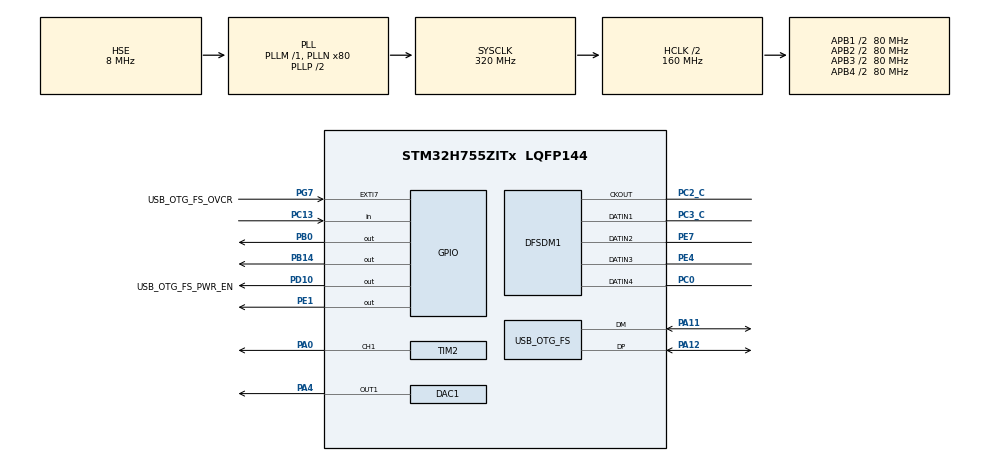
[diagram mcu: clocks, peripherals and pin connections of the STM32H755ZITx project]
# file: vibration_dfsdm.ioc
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CortexM4.IPs=FATFS_M4\:I,FREERTOS_M4\:I,IWDG2\:I,RCC,WWDG2\:I,DMA,BDMA,MDMA,NVIC2\:I,USART3,DEBUG,PDM2PCM_M4\:I,PWR,RESMGR_UTILITY,SYS_M4\:I,USB_DEVICE_M4\:I,USB_HOST_M4\:I,CORTEX_M4\:I,GPIO,OPENAMP_M4\:I,VREFBUF,NUCLEO-H755ZI-Q
CortexM7.IPs=FATFS_M7\:I,FREERTOS_M7\:I,IWDG1\:I,RCC\:I,WWDG1\:I,DMA\:I,BDMA\:I,MDMA\:I,NVIC1\:I,USART3\:I,USB_OTG_FS\:I,SYS\:I,CORTEX_M7\:I,DEBUG\:I,PDM2PCM_M7\:I,PWR\:I,RESMGR_UTILITY\:I,USB_DEVICE_M7\:I,USB_HOST_M7\:I,GPIO\:I,OPENAMP_M7\:I,VREFBUF\:I,NUCLEO-H755ZI-Q\:I,MEMORYMAP\:I,DFSDM1\:I,TIM1\:I,DAC1\:I,TIM2\:I
DAC1.DAC_Channel-DAC_OUT1=DAC_CHANNEL_1
DAC1.DAC_Trigger-DAC_OUT1=DAC_TRIGGER_T1_TRGO
DAC1.DAC_UserTrimming-DAC_OUT1=DAC_TRIMMING_FACTORY
DFSDM1.Divider=25
DFSDM1.DmaMode_reg_FIL0=ENABLE
DFSDM1.DmaMode_reg_FIL1=ENABLE
DFSDM1.DmaMode_reg_FIL2=ENABLE
DFSDM1.DmaMode_reg_FIL3=ENABLE
DFSDM1.FastMode_reg_FIL0=ENABLE
DFSDM1.FastMode_reg_FIL1=ENABLE
DFSDM1.FastMode_reg_FIL2=ENABLE
DFSDM1.FastMode_reg_FIL3=ENABLE
DFSDM1.FilterOrder_CH1=DFSDM_CHANNEL_FASTSINC_ORDER
DFSDM1.Filter_regChannel_FIL0=DFSDM_CHANNEL_1
DFSDM1.Filter_regChannel_FIL1=DFSDM_CHANNEL_2
DFSDM1.Filter_regChannel_FIL2=DFSDM_CHANNEL_3
DFSDM1.Filter_regChannel_FIL3=DFSDM_CHANNEL_4
DFSDM1.Fosr_FIL0=64
DFSDM1.Fosr_FIL1=64
DFSDM1.Fosr_FIL2=64
DFSDM1.Fosr_FIL3=64
DFSDM1.Iosr_FIL0=1
DFSDM1.Iosr_FIL1=1
DFSDM1.Iosr_FIL2=1
DFSDM1.Iosr_FIL3=1
DFSDM1.SincOrder_FIL0=DFSDM_FILTER_SINC3_ORDER
DFSDM1.SincOrder_FIL1=DFSDM_FILTER_SINC3_ORDER
DFSDM1.SincOrder_FIL2=DFSDM_FILTER_SINC3_ORDER
DFSDM1.SincOrder_FIL3=DFSDM_FILTER_SINC3_ORDER
DFSDM1.Type_spi_CH1=DFSDM_CHANNEL_SPI_FALLING
DFSDM1.Type_spi_CH2=DFSDM_CHANNEL_SPI_FALLING
DFSDM1.Type_spi_CH3=DFSDM_CHANNEL_SPI_FALLING
DFSDM1.Type_spi_CH4=DFSDM_CHANNEL_SPI_FALLING
Dma.DAC1_CH1.4.Direction=DMA_MEMORY_TO_PERIPH
Dma.DAC1_CH1.4.EventEnable=DISABLE
Dma.DAC1_CH1.4.FIFOMode=DMA_FIFOMODE_DISABLE
Dma.DAC1_CH1.4.Instance=DMA2_Stream0
Dma.DAC1_CH1.4.MemDataAlignment=DMA_MDATAALIGN_HALFWORD
Dma.DAC1_CH1.4.MemInc=DMA_MINC_ENABLE
Dma.DAC1_CH1.4.Mode=DMA_CIRCULAR
Dma.DAC1_CH1.4.PeriphDataAlignment=DMA_PDATAALIGN_HALFWORD
Dma.DAC1_CH1.4.PeriphInc=DMA_PINC_DISABLE
Dma.DAC1_CH1.4.Polarity=HAL_DMAMUX_REQ_GEN_RISING
Dma.DAC1_CH1.4.Priority=DMA_PRIORITY_VERY_HIGH
Dma.DAC1_CH1.4.RequestNumber=1
Dma.DAC1_CH1.4.SignalID=NONE
Dma.DAC1_CH1.4.SyncEnable=DISABLE
Dma.DAC1_CH1.4.SyncPolarity=HAL_DMAMUX_SYNC_NO_EVENT
Dma.DAC1_CH1.4.SyncRequestNumber=1
Dma.DAC1_CH1.4.SyncSignalID=NONE
Dma.DFSDM1_FLT0.0.Direction=DMA_PERIPH_TO_MEMORY
Dma.DFSDM1_FLT0.0.EventEnable=DISABLE
Dma.DFSDM1_FLT0.0.FIFOMode=DMA_FIFOMODE_ENABLE
Dma.DFSDM1_FLT0.0.FIFOThreshold=DMA_FIFO_THRESHOLD_FULL
Dma.DFSDM1_FLT0.0.Instance=DMA1_Stream0
Dma.DFSDM1_FLT0.0.MemBurst=DMA_MBURST_INC4
Dma.DFSDM1_FLT0.0.MemDataAlignment=DMA_MDATAALIGN_WORD
Dma.DFSDM1_FLT0.0.MemInc=DMA_MINC_ENABLE
Dma.DFSDM1_FLT0.0.Mode=DMA_CIRCULAR
Dma.DFSDM1_FLT0.0.PeriphBurst=DMA_PBURST_SINGLE
Dma.DFSDM1_FLT0.0.PeriphDataAlignment=DMA_PDATAALIGN_WORD
Dma.DFSDM1_FLT0.0.PeriphInc=DMA_PINC_DISABLE
Dma.DFSDM1_FLT0.0.Polarity=HAL_DMAMUX_REQ_GEN_RISING
Dma.DFSDM1_FLT0.0.Priority=DMA_PRIORITY_HIGH
Dma.DFSDM1_FLT0.0.RequestNumber=1
Dma.DFSDM1_FLT0.0.SignalID=NONE
Dma.DFSDM1_FLT0.0.SyncEnable=DISABLE
Dma.DFSDM1_FLT0.0.SyncPolarity=HAL_DMAMUX_SYNC_NO_EVENT
Dma.DFSDM1_FLT0.0.SyncRequestNumber=1
Dma.DFSDM1_FLT0.0.SyncSignalID=NONE
Dma.DFSDM1_FLT1.1.Direction=DMA_PERIPH_TO_MEMORY
Dma.DFSDM1_FLT1.1.EventEnable=DISABLE
Dma.DFSDM1_FLT1.1.FIFOMode=DMA_FIFOMODE_ENABLE
Dma.DFSDM1_FLT1.1.FIFOThreshold=DMA_FIFO_THRESHOLD_FULL
Dma.DFSDM1_FLT1.1.Instance=DMA1_Stream1
Dma.DFSDM1_FLT1.1.MemBurst=DMA_MBURST_INC4
Dma.DFSDM1_FLT1.1.MemDataAlignment=DMA_MDATAALIGN_WORD
Dma.DFSDM1_FLT1.1.MemInc=DMA_MINC_ENABLE
Dma.DFSDM1_FLT1.1.Mode=DMA_CIRCULAR
Dma.DFSDM1_FLT1.1.PeriphBurst=DMA_PBURST_SINGLE
Dma.DFSDM1_FLT1.1.PeriphDataAlignment=DMA_PDATAALIGN_WORD
Dma.DFSDM1_FLT1.1.PeriphInc=DMA_PINC_DISABLE
Dma.DFSDM1_FLT1.1.Polarity=HAL_DMAMUX_REQ_GEN_RISING
Dma.DFSDM1_FLT1.1.Priority=DMA_PRIORITY_HIGH
Dma.DFSDM1_FLT1.1.RequestNumber=1
Dma.DFSDM1_FLT1.1.SignalID=NONE
Dma.DFSDM1_FLT1.1.SyncEnable=DISABLE
Dma.DFSDM1_FLT1.1.SyncPolarity=HAL_DMAMUX_SYNC_NO_EVENT
Dma.DFSDM1_FLT1.1.SyncRequestNumber=1
Dma.DFSDM1_FLT1.1.SyncSignalID=NONE
Dma.DFSDM1_FLT2.2.Direction=DMA_PERIPH_TO_MEMORY
Dma.DFSDM1_FLT2.2.EventEnable=DISABLE
Dma.DFSDM1_FLT2.2.FIFOMode=DMA_FIFOMODE_ENABLE
Dma.DFSDM1_FLT2.2.FIFOThreshold=DMA_FIFO_THRESHOLD_FULL
Dma.DFSDM1_FLT2.2.Instance=DMA1_Stream2
Dma.DFSDM1_FLT2.2.MemBurst=DMA_MBURST_INC4
Dma.DFSDM1_FLT2.2.MemDataAlignment=DMA_MDATAALIGN_WORD
Dma.DFSDM1_FLT2.2.MemInc=DMA_MINC_ENABLE
Dma.DFSDM1_FLT2.2.Mode=DMA_CIRCULAR
Dma.DFSDM1_FLT2.2.PeriphBurst=DMA_PBURST_SINGLE
Dma.DFSDM1_FLT2.2.PeriphDataAlignment=DMA_PDATAALIGN_WORD
Dma.DFSDM1_FLT2.2.PeriphInc=DMA_PINC_DISABLE
Dma.DFSDM1_FLT2.2.Polarity=HAL_DMAMUX_REQ_GEN_RISING
Dma.DFSDM1_FLT2.2.Priority=DMA_PRIORITY_HIGH
Dma.DFSDM1_FLT2.2.RequestNumber=1
Dma.DFSDM1_FLT2.2.SignalID=NONE
Dma.DFSDM1_FLT2.2.SyncEnable=DISABLE
Dma.DFSDM1_FLT2.2.SyncPolarity=HAL_DMAMUX_SYNC_NO_EVENT
Dma.DFSDM1_FLT2.2.SyncRequestNumber=1
Dma.DFSDM1_FLT2.2.SyncSignalID=NONE
Dma.DFSDM1_FLT3.3.Direction=DMA_PERIPH_TO_MEMORY
Dma.DFSDM1_FLT3.3.EventEnable=DISABLE
Dma.DFSDM1_FLT3.3.FIFOMode=DMA_FIFOMODE_ENABLE
Dma.DFSDM1_FLT3.3.FIFOThreshold=DMA_FIFO_THRESHOLD_FULL
Dma.DFSDM1_FLT3.3.Instance=DMA1_Stream3
Dma.DFSDM1_FLT3.3.MemBurst=DMA_MBURST_INC4
Dma.DFSDM1_FLT3.3.MemDataAlignment=DMA_MDATAALIGN_WORD
Dma.DFSDM1_FLT3.3.MemInc=DMA_MINC_ENABLE
Dma.DFSDM1_FLT3.3.Mode=DMA_CIRCULAR
Dma.DFSDM1_FLT3.3.PeriphBurst=DMA_PBURST_SINGLE
Dma.DFSDM1_FLT3.3.PeriphDataAlignment=DMA_PDATAALIGN_WORD
Dma.DFSDM1_FLT3.3.PeriphInc=DMA_PINC_DISABLE
Dma.DFSDM1_FLT3.3.Polarity=HAL_DMAMUX_REQ_GEN_RISING
Dma.DFSDM1_FLT3.3.Priority=DMA_PRIORITY_HIGH
Dma.DFSDM1_FLT3.3.RequestNumber=1
Dma.DFSDM1_FLT3.3.SignalID=NONE
Dma.DFSDM1_FLT3.3.SyncEnable=DISABLE
Dma.DFSDM1_FLT3.3.SyncPolarity=HAL_DMAMUX_SYNC_NO_EVENT
Dma.DFSDM1_FLT3.3.SyncRequestNumber=1
Dma.DFSDM1_FLT3.3.SyncSignalID=NONE
Dma.Request0=DFSDM1_FLT0
Dma.Request1=DFSDM1_FLT1
Dma.Request2=DFSDM1_FLT2
Dma.Request3=DFSDM1_FLT3
Dma.Request4=DAC1_CH1
Mcu.Family=STM32H7
Mcu.Name=STM32H755ZITx
Mcu.Package=LQFP144
Mcu.UserConstants=USB_CDC_TX_BUFF_SIZE-CortexM7,(5000+3)*4;TIM1_PRD-CortexM7,10;TIM1_PSC-CortexM7,16
NUCLEO-H755ZI-Q.BUTTON=1
NUCLEO-H755ZI-Q.LD1=true
NUCLEO-H755ZI-Q.LD2=true
NUCLEO-H755ZI-Q.LD3=true
NVIC1.DMA1_Stream0_IRQn=true\:0\:0\:false\:false\:true\:false\:true\:true
NVIC1.DMA1_Stream1_IRQn=true\:0\:0\:false\:false\:true\:false\:true\:true
NVIC1.DMA1_Stream2_IRQn=true\:0\:0\:false\:false\:true\:false\:true\:true
NVIC1.DMA1_Stream3_IRQn=true\:0\:0\:false\:false\:true\:false\:true\:true
NVIC1.DMA2_Stream0_IRQn=true\:0\:0\:false\:false\:true\:false\:true\:true
NVIC1.EXTI15_10_IRQn=true\:0\:0\:false\:false\:true\:false\:true\:true
NVIC1.OTG_FS_IRQn=true\:0\:0\:false\:false\:true\:false\:true\:true
NVIC1.PriorityGroup=NVIC_PRIORITYGROUP_4
NVIC1.TIM6_DAC_IRQn=true\:0\:0\:false\:false\:true\:true\:true\:true
NVIC2.PriorityGroup=NVIC_PRIORITYGROUP_4
PA0.GPIO_PuPd=GPIO_PULLUP
PA0.PinAttribute=CortexM7
PA0.Signal=S_TIM2_CH1_ETR
PA1.PinAttribute=CortexM4
PA1.Signal=ETH_REF_CLK
PA11.Mode=Device_Only
PA11.PinAttribute=CortexM7
PA11.Signal=USB_OTG_FS_DM
PA12.Mode=Device_Only
PA12.PinAttribute=CortexM7
PA12.Signal=USB_OTG_FS_DP
PA2.PinAttribute=CortexM4
PA2.Signal=ETH_MDIO
PA4.PinAttribute=CortexM7
PA4.Signal=COMP_DAC11_group
PA7.PinAttribute=CortexM4
PA7.Signal=ETH_CRS_DV
PA8.PinAttribute=CortexM7
PA8.Signal=USB_OTG_FS_SOF
PA9.PinAttribute=CortexM7
PA9.Signal=USB_OTG_FS_VBUS
PB0.Signal=GPIO_Output
PB13.PinAttribute=CortexM4
PB13.Signal=ETH_TXD1
PB14.Signal=GPIO_Output
PC0.PinAttribute=CortexM7
PC0.Signal=S_DATAIN4DFSDM1
PC1.PinAttribute=CortexM4
PC1.Signal=ETH_MDC
PC13.Signal=GPIO_Input
PC14-OSC32_IN\ (OSC32_IN).PinAttribute=Free
PC14-OSC32_IN\ (OSC32_IN).Signal=RCC_OSC32_IN
PC15-OSC32_OUT\ (OSC32_OUT).PinAttribute=Free
PC15-OSC32_OUT\ (OSC32_OUT).Signal=RCC_OSC32_OUT
PC2_C.GPIO_PuPd=GPIO_NOPULL
PC2_C.GPIO_Speed=GPIO_SPEED_FREQ_LOW
PC2_C.PinAttribute=CortexM7
PC2_C.Signal=S_CKOUTDFSDM1
PC3_C.PinAttribute=CortexM7
PC3_C.Signal=S_DATAIN1DFSDM1
PC4.PinAttribute=CortexM4
PC4.Signal=ETH_RXD0
PC5.PinAttribute=CortexM4
PC5.Signal=ETH_RXD1
PD10.GPIO_Label=USB_OTG_FS_PWR_EN
PD10.PinAttribute=Free
PD10.Signal=GPIO_Output
PD8.PinAttribute=CortexM7
PD8.Signal=USART3_TX
PD9.PinAttribute=CortexM7
PD9.Signal=USART3_RX
PE1.Signal=GPIO_Output
PE4.PinAttribute=CortexM7
PE4.Signal=S_DATAIN3DFSDM1
PE7.PinAttribute=CortexM7
PE7.Signal=S_DATAIN2DFSDM1
PG11.PinAttribute=CortexM4
PG11.Signal=ETH_TX_EN
PG13.PinAttribute=CortexM4
PG13.Signal=ETH_TXD0
PG7.GPIO_Label=USB_OTG_FS_OVCR
PG7.PinAttribute=Free
PG7.Signal=GPXTI7
PH0-OSC_IN\ (PH0).Mode=HSE-External-Oscillator
PH0-OSC_IN\ (PH0).PinAttribute=Free
PH0-OSC_IN\ (PH0).Signal=RCC_OSC_IN
PH1-OSC_OUT\ (PH1).Mode=HSE-External-Oscillator
PH1-OSC_OUT\ (PH1).PinAttribute=Free
PH1-OSC_OUT\ (PH1).Signal=RCC_OSC_OUT
ProjectManager.HeapSize=M4-0x200,M7-0x200
ProjectManager.StackSize=M4-0x400,M7-0x400
ProjectManager.TargetToolchain=STM32CubeIDE
RCC.ADCFreq_Value=16125000
RCC.APB1Freq_Value=80000000
RCC.APB2Freq_Value=80000000
RCC.APB3Freq_Value=80000000
RCC.APB4Freq_Value=80000000
RCC.CortexFreq_Value=320000000
RCC.D1PPRE=RCC_APB3_DIV2
RCC.D2PPRE1=RCC_APB1_DIV2
RCC.D2PPRE2=RCC_APB2_DIV2
RCC.D3PPRE=RCC_APB4_DIV2
RCC.DIVM1=1
RCC.DIVN1=80
RCC.DIVQ1=5
RCC.HCLKFreq_Value=160000000
RCC.HPRE=RCC_HCLK_DIV2
RCC.HSE_VALUE=8000000
RCC.PLL2FRACN=0
RCC.PLL3FRACN=0
RCC.PLLFRACN=0
RCC.PLLSourceVirtual=RCC_PLLSOURCE_HSE
RCC.SYSCLKFreq_VALUE=320000000
RCC.SYSCLKSource=RCC_SYSCLKSOURCE_PLLCLK
RCC.SupplySource=PWR_DIRECT_SMPS_SUPPLY
RCC.USBCLockSelection=RCC_USBCLKSOURCE_HSI48
RCC.USBFreq_Value=48000000
SH.COMP_DAC11_group.0=DAC1_OUT1,DAC_OUT1
SH.S_CKOUTDFSDM1.0=DFSDM1_CKOUT,PDM_SPI_input_from_ch1_and_internal_clock
SH.S_CKOUTDFSDM1.1=DFSDM1_CKOUT,PDM_SPI_input_from_ch2_and_internal_clock
SH.S_CKOUTDFSDM1.2=DFSDM1_CKOUT,PDM_SPI_input_from_ch3_and_internal_clock
SH.S_CKOUTDFSDM1.3=DFSDM1_CKOUT,PDM_SPI_input_from_ch4_and_internal_clock
SH.S_DATAIN1DFSDM1.0=DFSDM1_DATIN1,PDM_SPI_input_from_ch1_and_internal_clock
SH.S_DATAIN2DFSDM1.0=DFSDM1_DATIN2,PDM_SPI_input_from_ch2_and_internal_clock
SH.S_DATAIN3DFSDM1.0=DFSDM1_DATIN3,PDM_SPI_input_from_ch3_and_internal_clock
SH.S_DATAIN4DFSDM1.0=DFSDM1_DATIN4,PDM_SPI_input_from_ch4_and_internal_clock
SH.S_TIM2_CH1_ETR.0=TIM2_CH1,Output Compare1 CH1
TIM1.Period=TIM1_PRD-1
TIM1.Prescaler=TIM1_PSC-1
TIM1.TIM_MasterOutputTrigger=TIM_TRGO_UPDATE
TIM2.Channel-Output\ Compare1\ CH1=TIM_CHANNEL_1
TIM2.OCMode_1=TIM_OCMODE_TOGGLE
TIM2.Period=4
TIM2.Prescaler=4
USB_DEVICE_M7.APP_RX_DATA_SIZE-CDC_FS=1024
USB_DEVICE_M7.APP_TX_DATA_SIZE=USB_CDC_TX_BUFF_SIZE
USB_DEVICE_M7.APP_TX_DATA_SIZE-CDC_FS=USB_CDC_TX_BUFF_SIZE
USB_DEVICE_M7.CLASS_NAME_FS=CDC
USB_DEVICE_M7.MANUFACTURER_STRING-CDC_FS=TensorTech
USB_DEVICE_M7.PRODUCT_STRING_CDC_FS=Vibration Sensor
USB_DEVICE_M7.VirtualMode-CDC_FS=Cdc
USB_DEVICE_M7.VirtualModeFS=Cdc_FS
USB_OTG_FS.VirtualMode=Device_Only
USB_OTG_FS.dma_enable=ENABLE
VP_MEMORYMAP_VS_MEMORYMAP.Mode=CurAppReg
VP_NUCLEO-H755ZI-Q_VS_BSP_COMMON.Mode=COMMON
VP_SYS_M4_VS_Systick.Mode=SysTick
VP_TIM1_VS_ClockSourceINT.Mode=Internal
VP_TIM2_VS_ClockSourceINT.Mode=Internal
VP_USB_DEVICE_M7_VS_USB_DEVICE_CDC_FS.Mode=CDC_FS
board=NUCLEO-H755ZI-Q

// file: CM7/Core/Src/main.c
/* USER CODE BEGIN Header */
/**
  ******************************************************************************
  * @file           : main.c
  * @brief          : Main program body
  ******************************************************************************
  * @attention
  *
  * Copyright (c) 2025 STMicroelectronics.
  * All rights reserved.
  *
  * This software is licensed under terms that can be found in the LICENSE file
  * in the root directory of this software component.
  * If no LICENSE file comes with this software, it is provided AS-IS.
  *
  ******************************************************************************
  */
/* USER CODE END Header */
#include "main.h"
#include "usb_device.h"

/* USER CODE BEGIN Includes */
#include <stdint.h>
#include <string.h>

#include "usbd_cdc_if.h"
#include "usbd_cdc.h"
#include "usbd_def.h"

#include "dac_table.h"
/* USER CODE END Includes */

/* USER CODE BEGIN PTD */
typedef enum
{
    DFSDM_IDLE,
    DFSDM_TOP_CPLT,
    DFSDM_BOT_CPLT,
    DFSDM_FED,
}DFSDM_STATE_t;
/* USER CODE END PTD */

/* USER CODE BEGIN PD */

/* DUAL_CORE_BOOT_SYNC_SEQUENCE: Define for dual core boot synchronization    */
/*                             demonstration code based on hardware semaphore */
/* This define is present in both CM7/CM4 projects                            */
/* To comment when developping/debugging on a single core                     */
// #define DUAL_CORE_BOOT_SYNC_SEQUENCE

#if defined(DUAL_CORE_BOOT_SYNC_SEQUENCE)
#ifndef HSEM_ID_0
#define HSEM_ID_0 (0U) /* HW semaphore 0*/
#endif
#endif /* DUAL_CORE_BOOT_SYNC_SEQUENCE */

/* USER CODE END PD */

DAC_HandleTypeDef hdac1;
DMA_HandleTypeDef hdma_dac1_ch1;

DFSDM_Filter_HandleTypeDef hdfsdm1_filter0;
DFSDM_Filter_HandleTypeDef hdfsdm1_filter1;
DFSDM_Filter_HandleTypeDef hdfsdm1_filter2;
DFSDM_Filter_HandleTypeDef hdfsdm1_filter3;
DFSDM_Channel_HandleTypeDef hdfsdm1_channel1;
DFSDM_Channel_HandleTypeDef hdfsdm1_channel2;
DFSDM_Channel_HandleTypeDef hdfsdm1_channel3;
DFSDM_Channel_HandleTypeDef hdfsdm1_channel4;
DMA_HandleTypeDef hdma_dfsdm1_flt0;
DMA_HandleTypeDef hdma_dfsdm1_flt1;
DMA_HandleTypeDef hdma_dfsdm1_flt2;
DMA_HandleTypeDef hdma_dfsdm1_flt3;

TIM_HandleTypeDef htim1;
TIM_HandleTypeDef htim2;

/* USER CODE BEGIN PV */
int32_t usb_cdc_tx_buff[USB_CDC_TX_BUFF_LEN];
DFSDM_STATE_t dfsdm_state[5] = {DFSDM_IDLE, DFSDM_IDLE, DFSDM_IDLE, DFSDM_IDLE, DFSDM_IDLE};
volatile int32_t pcm_data[4][PCM_DATA_LEN];

uint8_t usb_drop = 0;
/* USER CODE END PV */

void SystemClock_Config(void);
static void MX_GPIO_Init(void);
static void MX_DMA_Init(void);
static void MX_DFSDM1_Init(void);
static void MX_TIM1_Init(void);
static void MX_DAC1_Init(void);
static void MX_TIM2_Init(void);

int main(void)
{

  /* USER CODE BEGIN 1 */
    // Initialize USB frame structure (will be updated per channel in main loop)
    usb_cdc_tx_buff[USB_CDC_TX_BUFF_LEN - 1] = USB_EOF; // End of USB frame

  /* USER CODE END 1 */
/* USER CODE BEGIN Boot_Mode_Sequence_0 */
#if defined(DUAL_CORE_BOOT_SYNC_SEQUENCE)
  int32_t timeout;
#endif /* DUAL_CORE_BOOT_SYNC_SEQUENCE */
/* USER CODE END Boot_Mode_Sequence_0 */

/* USER CODE BEGIN Boot_Mode_Sequence_1 */
#if defined(DUAL_CORE_BOOT_SYNC_SEQUENCE)
  /* Wait until CPU2 boots and enters in stop mode or timeout*/
  timeout = 0xFFFF;
  while((__HAL_RCC_GET_FLAG(RCC_FLAG_D2CKRDY) != RESET) && (timeout-- > 0));
  if ( timeout < 0 )
  {
  Error_Handler();
  }
#endif /* DUAL_CORE_BOOT_SYNC_SEQUENCE */
/* USER CODE END Boot_Mode_Sequence_1 */
  /* MCU Configuration--------------------------------------------------------*/

  /* Reset of all peripherals, Initializes the Flash interface and the Systick. */
  HAL_Init();

  /* Configure the system clock */
  SystemClock_Config();
/* USER CODE BEGIN Boot_Mode_Sequence_2 */
#if defined(DUAL_CORE_BOOT_SYNC_SEQUENCE)
/* When system initialization is finished, Cortex-M7 will release Cortex-M4 by means of
HSEM notification */
/*HW semaphore Clock enable*/
__HAL_RCC_HSEM_CLK_ENABLE();
/*Take HSEM */
HAL_HSEM_FastTake(HSEM_ID_0);
/*Release HSEM in order to notify the CPU2(CM4)*/
HAL_HSEM_Release(HSEM_ID_0,0);
/* wait until CPU2 wakes up from stop mode */
timeout = 0xFFFF;
while((__HAL_RCC_GET_FLAG(RCC_FLAG_D2CKRDY) == RESET) && (timeout-- > 0));
if ( timeout < 0 )
{
Error_Handler();
}
#endif /* DUAL_CORE_BOOT_SYNC_SEQUENCE */
/* USER CODE END Boot_Mode_Sequence_2 */

  /* Initialize all configured peripherals */
  MX_GPIO_Init();
  MX_DMA_Init();
  MX_DFSDM1_Init();
  MX_USB_DEVICE_Init();
  MX_TIM1_Init();
  MX_DAC1_Init();
  MX_TIM2_Init();
  /* USER CODE BEGIN 2 */
  HAL_DAC_Start_DMA(&hdac1, DAC_CHANNEL_1, sine_table, sizeof(sine_table)/sizeof(sine_table[0]), DAC_ALIGN_12B_R);
  HAL_TIM_Base_Start(&htim1);
  HAL_TIM_OC_Start(&htim2, TIM_CHANNEL_1);
    HAL_DFSDM_FilterRegularStart_DMA(&hdfsdm1_filter0, (int32_t *)pcm_data[0], PCM_DATA_LEN);
    HAL_Delay(24);
    HAL_DFSDM_FilterRegularStart_DMA(&hdfsdm1_filter1, (int32_t *)pcm_data[1], PCM_DATA_LEN);
    HAL_Delay(24);
    HAL_DFSDM_FilterRegularStart_DMA(&hdfsdm1_filter2, (int32_t *)pcm_data[2], PCM_DATA_LEN);
    HAL_Delay(24);
    HAL_DFSDM_FilterRegularStart_DMA(&hdfsdm1_filter3, (int32_t *)pcm_data[3], PCM_DATA_LEN);
  /* USER CODE END 2 */

  /* Initialize leds */
  BSP_LED_Init(LED_GREEN);
  BSP_LED_Init(LED_YELLOW);
  BSP_LED_Init(LED_RED);

  /* Initialize USER push-button, will be used to trigger an interrupt each time it's pressed.*/
  BSP_PB_Init(BUTTON_USER, BUTTON_MODE_EXTI);

  /* Infinite loop */
  /* USER CODE BEGIN WHILE */
  while (1)
  {
    int i = 0;
    //select the one that is ready
    for(i = 0; i < 4; i++)
    {
        if(dfsdm_state[i] == DFSDM_TOP_CPLT || dfsdm_state[i] == DFSDM_BOT_CPLT)
            break;
    }
    // if none is ready, i will be 4, and dfsdm_state[4] is always IDLE, so the default case will be executed
    switch(dfsdm_state[i])
    {
        case DFSDM_TOP_CPLT:
        {
            usb_cdc_tx_buff[0] = USB_SOF_BASE + i; // Channel-specific Start of USB frame
            usb_cdc_tx_buff[1] = HAL_GetTick(); // Time stamp
            // Right shift each PCM data element by 8 bits
            for(int j = 0; j < PCM_DATA_LEN/2; j++)
            {
                usb_cdc_tx_buff[j + 2] = pcm_data[i][j] >> 8;
            }
            if(CDC_Transmit_FS((uint8_t *)usb_cdc_tx_buff, USB_CDC_TX_BUFF_SIZE) != USBD_OK)
            {
                usb_drop++;
                BSP_LED_Off(LED_YELLOW);
            }
            else
            {
                BSP_LED_Toggle(LED_YELLOW);
            }
            dfsdm_state[i] = DFSDM_FED; // Wait for next half of data
            break;
        }
        case DFSDM_BOT_CPLT:
        {
            usb_cdc_tx_buff[0] = USB_SOF_BASE + i; // Channel-specific Start of USB frame
            usb_cdc_tx_buff[1] = HAL_GetTick(); // Time stamp
            // Right shift each PCM data element by 8 bits
            for(int j = 0; j < PCM_DATA_LEN/2; j++)
            {
                usb_cdc_tx_buff[j + 2] = pcm_data[i][j + PCM_DATA_LEN/2] >> 8;
            }
            if(CDC_Transmit_FS((uint8_t *)usb_cdc_tx_buff, USB_CDC_TX_BUFF_SIZE) != USBD_OK)
            {
                usb_drop++;
                BSP_LED_Off(LED_YELLOW);
            }
            else
            {
                BSP_LED_Toggle(LED_YELLOW);
            }
            dfsdm_state[i] = DFSDM_FED; // Wait for next half of data
            break;
        }
        default:
        {
            // Do nothing, wait for next data
            break;
        }
    }
    /* USER CODE END WHILE */

  }
}

void SystemClock_Config(void)
{
  RCC_OscInitTypeDef RCC_OscInitStruct = {0};
  RCC_ClkInitTypeDef RCC_ClkInitStruct = {0};

  /** Supply configuration update enable
  */
  HAL_PWREx_ConfigSupply(PWR_DIRECT_SMPS_SUPPLY);

  /** Configure the main internal regulator output voltage
  */
  __HAL_PWR_VOLTAGESCALING_CONFIG(PWR_REGULATOR_VOLTAGE_SCALE1);

  while(!__HAL_PWR_GET_FLAG(PWR_FLAG_VOSRDY)) {}

  /** Initializes the RCC Oscillators according to the specified parameters
  * in the RCC_OscInitTypeDef structure.
  */
  RCC_OscInitStruct.OscillatorType = RCC_OSCILLATORTYPE_HSI48|RCC_OSCILLATORTYPE_HSE;
  RCC_OscInitStruct.HSEState = RCC_HSE_ON;
  RCC_OscInitStruct.HSI48State = RCC_HSI48_ON;
  RCC_OscInitStruct.PLL.PLLState = RCC_PLL_ON;
  RCC_OscInitStruct.PLL.PLLSource = RCC_PLLSOURCE_HSE;
  RCC_OscInitStruct.PLL.PLLM = 1;
  RCC_OscInitStruct.PLL.PLLN = 80;
  RCC_OscInitStruct.PLL.PLLP = 2;
  RCC_OscInitStruct.PLL.PLLQ = 5;
  RCC_OscInitStruct.PLL.PLLR = 2;
  RCC_OscInitStruct.PLL.PLLRGE = RCC_PLL1VCIRANGE_3;
  RCC_OscInitStruct.PLL.PLLVCOSEL = RCC_PLL1VCOWIDE;
  RCC_OscInitStruct.PLL.PLLFRACN = 0;
  if (HAL_RCC_OscConfig(&RCC_OscInitStruct) != HAL_OK)
  {
    Error_Handler();
  }

  /** Initializes the CPU, AHB and APB buses clocks
  */
  RCC_ClkInitStruct.ClockType = RCC_CLOCKTYPE_HCLK|RCC_CLOCKTYPE_SYSCLK
                              |RCC_CLOCKTYPE_PCLK1|RCC_CLOCKTYPE_PCLK2
                              |RCC_CLOCKTYPE_D3PCLK1|RCC_CLOCKTYPE_D1PCLK1;
  RCC_ClkInitStruct.SYSCLKSource = RCC_SYSCLKSOURCE_PLLCLK;
  RCC_ClkInitStruct.SYSCLKDivider = RCC_SYSCLK_DIV1;
  RCC_ClkInitStruct.AHBCLKDivider = RCC_HCLK_DIV2;
  RCC_ClkInitStruct.APB3CLKDivider = RCC_APB3_DIV2;
  RCC_ClkInitStruct.APB1CLKDivider = RCC_APB1_DIV2;
  RCC_ClkInitStruct.APB2CLKDivider = RCC_APB2_DIV2;
  RCC_ClkInitStruct.APB4CLKDivider = RCC_APB4_DIV2;

  if (HAL_RCC_ClockConfig(&RCC_ClkInitStruct, FLASH_LATENCY_2) != HAL_OK)
  {
    Error_Handler();
  }
}

static void MX_DAC1_Init(void)
{

  DAC_ChannelConfTypeDef sConfig = {0};

  /** DAC Initialization
  */
  hdac1.Instance = DAC1;
  if (HAL_DAC_Init(&hdac1) != HAL_OK)
  {
    Error_Handler();
  }

  /** DAC channel OUT1 config
  */
  sConfig.DAC_SampleAndHold = DAC_SAMPLEANDHOLD_DISABLE;
  sConfig.DAC_Trigger = DAC_TRIGGER_T1_TRGO;
  sConfig.DAC_OutputBuffer = DAC_OUTPUTBUFFER_ENABLE;
  sConfig.DAC_ConnectOnChipPeripheral = DAC_CHIPCONNECT_DISABLE;
  sConfig.DAC_UserTrimming = DAC_TRIMMING_FACTORY;
  if (HAL_DAC_ConfigChannel(&hdac1, &sConfig, DAC_CHANNEL_1) != HAL_OK)
  {
    Error_Handler();
  }

}

static void MX_DFSDM1_Init(void)
{

  hdfsdm1_filter0.Instance = DFSDM1_Filter0;
  hdfsdm1_filter0.Init.RegularParam.Trigger = DFSDM_FILTER_SW_TRIGGER;
  hdfsdm1_filter0.Init.RegularParam.FastMode = ENABLE;
  hdfsdm1_filter0.Init.RegularParam.DmaMode = ENABLE;
  hdfsdm1_filter0.Init.FilterParam.SincOrder = DFSDM_FILTER_SINC3_ORDER;
  hdfsdm1_filter0.Init.FilterParam.Oversampling = 64;
  hdfsdm1_filter0.Init.FilterParam.IntOversampling = 1;
  if (HAL_DFSDM_FilterInit(&hdfsdm1_filter0) != HAL_OK)
  {
    Error_Handler();
  }
  hdfsdm1_filter1.Instance = DFSDM1_Filter1;
  hdfsdm1_filter1.Init.RegularParam.Trigger = DFSDM_FILTER_SW_TRIGGER;
  hdfsdm1_filter1.Init.RegularParam.FastMode = ENABLE;
  hdfsdm1_filter1.Init.RegularParam.DmaMode = ENABLE;
  hdfsdm1_filter1.Init.FilterParam.SincOrder = DFSDM_FILTER_SINC3_ORDER;
  hdfsdm1_filter1.Init.FilterParam.Oversampling = 64;
  hdfsdm1_filter1.Init.FilterParam.IntOversampling = 1;
  if (HAL_DFSDM_FilterInit(&hdfsdm1_filter1) != HAL_OK)
  {
    Error_Handler();
  }
  hdfsdm1_filter2.Instance = DFSDM1_Filter2;
  hdfsdm1_filter2.Init.RegularParam.Trigger = DFSDM_FILTER_SW_TRIGGER;
  hdfsdm1_filter2.Init.RegularParam.FastMode = ENABLE;
  hdfsdm1_filter2.Init.RegularParam.DmaMode = ENABLE;
  hdfsdm1_filter2.Init.FilterParam.SincOrder = DFSDM_FILTER_SINC3_ORDER;
  hdfsdm1_filter2.Init.FilterParam.Oversampling = 64;
  hdfsdm1_filter2.Init.FilterParam.IntOversampling = 1;
  if (HAL_DFSDM_FilterInit(&hdfsdm1_filter2) != HAL_OK)
  {
    Error_Handler();
  }
  hdfsdm1_filter3.Instance = DFSDM1_Filter3;
  hdfsdm1_filter3.Init.RegularParam.Trigger = DFSDM_FILTER_SW_TRIGGER;
  hdfsdm1_filter3.Init.RegularParam.FastMode = ENABLE;
  hdfsdm1_filter3.Init.RegularParam.DmaMode = ENABLE;
  hdfsdm1_filter3.Init.FilterParam.SincOrder = DFSDM_FILTER_SINC3_ORDER;
  hdfsdm1_filter3.Init.FilterParam.Oversampling = 64;
  hdfsdm1_filter3.Init.FilterParam.IntOversampling = 1;
  if (HAL_DFSDM_FilterInit(&hdfsdm1_filter3) != HAL_OK)
  {
    Error_Handler();
  }
  hdfsdm1_channel1.Instance = DFSDM1_Channel1;
  hdfsdm1_channel1.Init.OutputClock.Activation = ENABLE;
  hdfsdm1_channel1.Init.OutputClock.Selection = DFSDM_CHANNEL_OUTPUT_CLOCK_SYSTEM;
  hdfsdm1_channel1.Init.OutputClock.Divider = 25;
  hdfsdm1_channel1.Init.Input.Multiplexer = DFSDM_CHANNEL_EXTERNAL_INPUTS;
  hdfsdm1_channel1.Init.Input.DataPacking = DFSDM_CHANNEL_STANDARD_MODE;
  hdfsdm1_channel1.Init.Input.Pins = DFSDM_CHANNEL_SAME_CHANNEL_PINS;
  hdfsdm1_channel1.Init.SerialInterface.Type = DFSDM_CHANNEL_SPI_FALLING;
  hdfsdm1_channel1.Init.SerialInterface.SpiClock = DFSDM_CHANNEL_SPI_CLOCK_INTERNAL;
  hdfsdm1_channel1.Init.Awd.FilterOrder = DFSDM_CHANNEL_FASTSINC_ORDER;
  hdfsdm1_channel1.Init.Awd.Oversampling = 1;
  hdfsdm1_channel1.Init.Offset = 0;
  hdfsdm1_channel1.Init.RightBitShift = 0x00;
  if (HAL_DFSDM_ChannelInit(&hdfsdm1_channel1) != HAL_OK)
  {
    Error_Handler();
  }
  hdfsdm1_channel2.Instance = DFSDM1_Channel2;
  hdfsdm1_channel2.Init.OutputClock.Activation = ENABLE;
  hdfsdm1_channel2.Init.OutputClock.Selection = DFSDM_CHANNEL_OUTPUT_CLOCK_SYSTEM;
  hdfsdm1_channel2.Init.OutputClock.Divider = 25;
  hdfsdm1_channel2.Init.Input.Multiplexer = DFSDM_CHANNEL_EXTERNAL_INPUTS;
  hdfsdm1_channel2.Init.Input.DataPacking = DFSDM_CHANNEL_STANDARD_MODE;
  hdfsdm1_channel2.Init.Input.Pins = DFSDM_CHANNEL_SAME_CHANNEL_PINS;
  hdfsdm1_channel2.Init.SerialInterface.Type = DFSDM_CHANNEL_SPI_FALLING;
  hdfsdm1_channel2.Init.SerialInterface.SpiClock = DFSDM_CHANNEL_SPI_CLOCK_INTERNAL;
  hdfsdm1_channel2.Init.Awd.FilterOrder = DFSDM_CHANNEL_FASTSINC_ORDER;
  hdfsdm1_channel2.Init.Awd.Oversampling = 1;
  hdfsdm1_channel2.Init.Offset = 0;
  hdfsdm1_channel2.Init.RightBitShift = 0x00;
  if (HAL_DFSDM_ChannelInit(&hdfsdm1_channel2) != HAL_OK)
  {
    Error_Handler();
  }
  hdfsdm1_channel3.Instance = DFSDM1_Channel3;
  hdfsdm1_channel3.Init.OutputClock.Activation = ENABLE;
  hdfsdm1_channel3.Init.OutputClock.Selection = DFSDM_CHANNEL_OUTPUT_CLOCK_SYSTEM;
  hdfsdm1_channel3.Init.OutputClock.Divider = 25;
  hdfsdm1_channel3.Init.Input.Multiplexer = DFSDM_CHANNEL_EXTERNAL_INPUTS;
  hdfsdm1_channel3.Init.Input.DataPacking = DFSDM_CHANNEL_STANDARD_MODE;
  hdfsdm1_channel3.Init.Input.Pins = DFSDM_CHANNEL_SAME_CHANNEL_PINS;
  hdfsdm1_channel3.Init.SerialInterface.Type = DFSDM_CHANNEL_SPI_FALLING;
  hdfsdm1_channel3.Init.SerialInterface.SpiClock = DFSDM_CHANNEL_SPI_CLOCK_INTERNAL;
  hdfsdm1_channel3.Init.Awd.FilterOrder = DFSDM_CHANNEL_FASTSINC_ORDER;
  hdfsdm1_channel3.Init.Awd.Oversampling = 1;
  hdfsdm1_channel3.Init.Offset = 0;
  hdfsdm1_channel3.Init.RightBitShift = 0x00;
  if (HAL_DFSDM_ChannelInit(&hdfsdm1_channel3) != HAL_OK)
  {
    Error_Handler();
  }
  hdfsdm1_channel4.Instance = DFSDM1_Channel4;
  hdfsdm1_channel4.Init.OutputClock.Activation = ENABLE;
  hdfsdm1_channel4.Init.OutputClock.Selection = DFSDM_CHANNEL_OUTPUT_CLOCK_SYSTEM;
  hdfsdm1_channel4.Init.OutputClock.Divider = 25;
  hdfsdm1_channel4.Init.Input.Multiplexer = DFSDM_CHANNEL_EXTERNAL_INPUTS;
  hdfsdm1_channel4.Init.Input.DataPacking = DFSDM_CHANNEL_STANDARD_MODE;
  hdfsdm1_channel4.Init.Input.Pins = DFSDM_CHANNEL_SAME_CHANNEL_PINS;
  hdfsdm1_channel4.Init.SerialInterface.Type = DFSDM_CHANNEL_SPI_FALLING;
  hdfsdm1_channel4.Init.SerialInterface.SpiClock = DFSDM_CHANNEL_SPI_CLOCK_INTERNAL;
  hdfsdm1_channel4.Init.Awd.FilterOrder = DFSDM_CHANNEL_FASTSINC_ORDER;
  hdfsdm1_channel4.Init.Awd.Oversampling = 1;
  hdfsdm1_channel4.Init.Offset = 0;
  hdfsdm1_channel4.Init.RightBitShift = 0x00;
  if (HAL_DFSDM_ChannelInit(&hdfsdm1_channel4) != HAL_OK)
  {
    Error_Handler();
  }
  if (HAL_DFSDM_FilterConfigRegChannel(&hdfsdm1_filter0, DFSDM_CHANNEL_1, DFSDM_CONTINUOUS_CONV_ON) != HAL_OK)
  {
    Error_Handler();
  }
  if (HAL_DFSDM_FilterConfigRegChannel(&hdfsdm1_filter1, DFSDM_CHANNEL_2, DFSDM_CONTINUOUS_CONV_ON) != HAL_OK)
  {
    Error_Handler();
  }
  if (HAL_DFSDM_FilterConfigRegChannel(&hdfsdm1_filter2, DFSDM_CHANNEL_3, DFSDM_CONTINUOUS_CONV_ON) != HAL_OK)
  {
    Error_Handler();
  }
  if (HAL_DFSDM_FilterConfigRegChannel(&hdfsdm1_filter3, DFSDM_CHANNEL_4, DFSDM_CONTINUOUS_CONV_ON) != HAL_OK)
  {
    Error_Handler();
  }

}

static void MX_TIM1_Init(void)
{

  TIM_ClockConfigTypeDef sClockSourceConfig = {0};
  TIM_MasterConfigTypeDef sMasterConfig = {0};

  htim1.Instance = TIM1;
  htim1.Init.Prescaler = TIM1_PSC-1;
  htim1.Init.CounterMode = TIM_COUNTERMODE_UP;
  htim1.Init.Period = TIM1_PRD-1;
  htim1.Init.ClockDivision = TIM_CLOCKDIVISION_DIV1;
  htim1.Init.RepetitionCounter = 0;
  htim1.Init.AutoReloadPreload = TIM_AUTORELOAD_PRELOAD_DISABLE;
  if (HAL_TIM_Base_Init(&htim1) != HAL_OK)
  {
    Error_Handler();
  }
  sClockSourceConfig.ClockSource = TIM_CLOCKSOURCE_INTERNAL;
  if (HAL_TIM_ConfigClockSource(&htim1, &sClockSourceConfig) != HAL_OK)
  {
    Error_Handler();
  }
  sMasterConfig.MasterOutputTrigger = TIM_TRGO_UPDATE;
  sMasterConfig.MasterOutputTrigger2 = TIM_TRGO2_RESET;
  sMasterConfig.MasterSlaveMode = TIM_MASTERSLAVEMODE_DISABLE;
  if (HAL_TIMEx_MasterConfigSynchronization(&htim1, &sMasterConfig) != HAL_OK)
  {
    Error_Handler();
  }

}

static void MX_TIM2_Init(void)
{

  TIM_ClockConfigTypeDef sClockSourceConfig = {0};
  TIM_MasterConfigTypeDef sMasterConfig = {0};
  TIM_OC_InitTypeDef sConfigOC = {0};

  htim2.Instance = TIM2;
  htim2.Init.Prescaler = 4;
  htim2.Init.CounterMode = TIM_COUNTERMODE_UP;
  htim2.Init.Period = 4;
  htim2.Init.ClockDivision = TIM_CLOCKDIVISION_DIV1;
  htim2.Init.AutoReloadPreload = TIM_AUTORELOAD_PRELOAD_DISABLE;
  if (HAL_TIM_Base_Init(&htim2) != HAL_OK)
  {
    Error_Handler();
  }
  sClockSourceConfig.ClockSource = TIM_CLOCKSOURCE_INTERNAL;
  if (HAL_TIM_ConfigClockSource(&htim2, &sClockSourceConfig) != HAL_OK)
  {
    Error_Handler();
  }
  if (HAL_TIM_OC_Init(&htim2) != HAL_OK)
  {
    Error_Handler();
  }
  sMasterConfig.MasterOutputTrigger = TIM_TRGO_RESET;
  sMasterConfig.MasterSlaveMode = TIM_MASTERSLAVEMODE_DISABLE;
  if (HAL_TIMEx_MasterConfigSynchronization(&htim2, &sMasterConfig) != HAL_OK)
  {
    Error_Handler();
  }
  sConfigOC.OCMode = TIM_OCMODE_TOGGLE;
  sConfigOC.Pulse = 0;
  sConfigOC.OCPolarity = TIM_OCPOLARITY_HIGH;
  sConfigOC.OCFastMode = TIM_OCFAST_DISABLE;
  if (HAL_TIM_OC_ConfigChannel(&htim2, &sConfigOC, TIM_CHANNEL_1) != HAL_OK)
  {
    Error_Handler();
  }
  HAL_TIM_MspPostInit(&htim2);

}

static void MX_DMA_Init(void)
{

  /* DMA controller clock enable */
  __HAL_RCC_DMA1_CLK_ENABLE();
  __HAL_RCC_DMA2_CLK_ENABLE();

  /* DMA interrupt init */
  /* DMA1_Stream0_IRQn interrupt configuration */
  HAL_NVIC_SetPriority(DMA1_Stream0_IRQn, 0, 0);
  HAL_NVIC_EnableIRQ(DMA1_Stream0_IRQn);
  /* DMA1_Stream1_IRQn interrupt configuration */
  HAL_NVIC_SetPriority(DMA1_Stream1_IRQn, 0, 0);
  HAL_NVIC_EnableIRQ(DMA1_Stream1_IRQn);
  /* DMA1_Stream2_IRQn interrupt configuration */
  HAL_NVIC_SetPriority(DMA1_Stream2_IRQn, 0, 0);
  HAL_NVIC_EnableIRQ(DMA1_Stream2_IRQn);
  /* DMA1_Stream3_IRQn interrupt configuration */
  HAL_NVIC_SetPriority(DMA1_Stream3_IRQn, 0, 0);
  HAL_NVIC_EnableIRQ(DMA1_Stream3_IRQn);
  /* DMA2_Stream0_IRQn interrupt configuration */
  HAL_NVIC_SetPriority(DMA2_Stream0_IRQn, 0, 0);
  HAL_NVIC_EnableIRQ(DMA2_Stream0_IRQn);

}

static void MX_GPIO_Init(void)
{
  GPIO_InitTypeDef GPIO_InitStruct = {0};

  /* GPIO Ports Clock Enable */
  __HAL_RCC_GPIOE_CLK_ENABLE();
  __HAL_RCC_GPIOC_CLK_ENABLE();
  __HAL_RCC_GPIOA_CLK_ENABLE();
  __HAL_RCC_GPIOD_CLK_ENABLE();

  /*Configure GPIO pins : PD8 PD9 */
  GPIO_InitStruct.Pin = GPIO_PIN_8|GPIO_PIN_9;
  GPIO_InitStruct.Mode = GPIO_MODE_AF_PP;
  GPIO_InitStruct.Pull = GPIO_NOPULL;
  GPIO_InitStruct.Speed = GPIO_SPEED_FREQ_LOW;
  GPIO_InitStruct.Alternate = GPIO_AF7_USART3;
  HAL_GPIO_Init(GPIOD, &GPIO_InitStruct);

}

/* USER CODE BEGIN 4 */
void HAL_DFSDM_FilterRegConvHalfCpltCallback(DFSDM_Filter_HandleTypeDef *hdfsdm_filter)
{
    // Determine which filter triggered the callback by comparing handle pointers
    int filter_index = -1;
    if(hdfsdm_filter == &hdfsdm1_filter0)
	{
    	filter_index = 0;
    	BSP_LED_On(LED_GREEN);
	}
    else if(hdfsdm_filter == &hdfsdm1_filter1) filter_index = 1;
    else if(hdfsdm_filter == &hdfsdm1_filter2) filter_index = 2;
    else if(hdfsdm_filter == &hdfsdm1_filter3) filter_index = 3;

    if(filter_index >= 0)
    {
        dfsdm_state[filter_index] = DFSDM_TOP_CPLT;
    }
}

void HAL_DFSDM_FilterRegConvCpltCallback(DFSDM_Filter_HandleTypeDef *hdfsdm_filter)
{
    // Determine which filter triggered the callback by comparing handle pointers
    int filter_index = -1;
    if(hdfsdm_filter == &hdfsdm1_filter0)
	{
    	filter_index = 0;
    	BSP_LED_Off(LED_GREEN);
	}
    else if(hdfsdm_filter == &hdfsdm1_filter1) filter_index = 1;
    else if(hdfsdm_filter == &hdfsdm1_filter2) filter_index = 2;
    else if(hdfsdm_filter == &hdfsdm1_filter3) filter_index = 3;

    if(filter_index >= 0)
    {
        if(dfsdm_state[filter_index] != DFSDM_FED)
        {
        }
        else
        {
        }
        dfsdm_state[filter_index] = DFSDM_BOT_CPLT;
    }
}

/* USER CODE END 4 */

void Error_Handler(void)
{
  __disable_irq();
  while (1)
  {
  }
}
